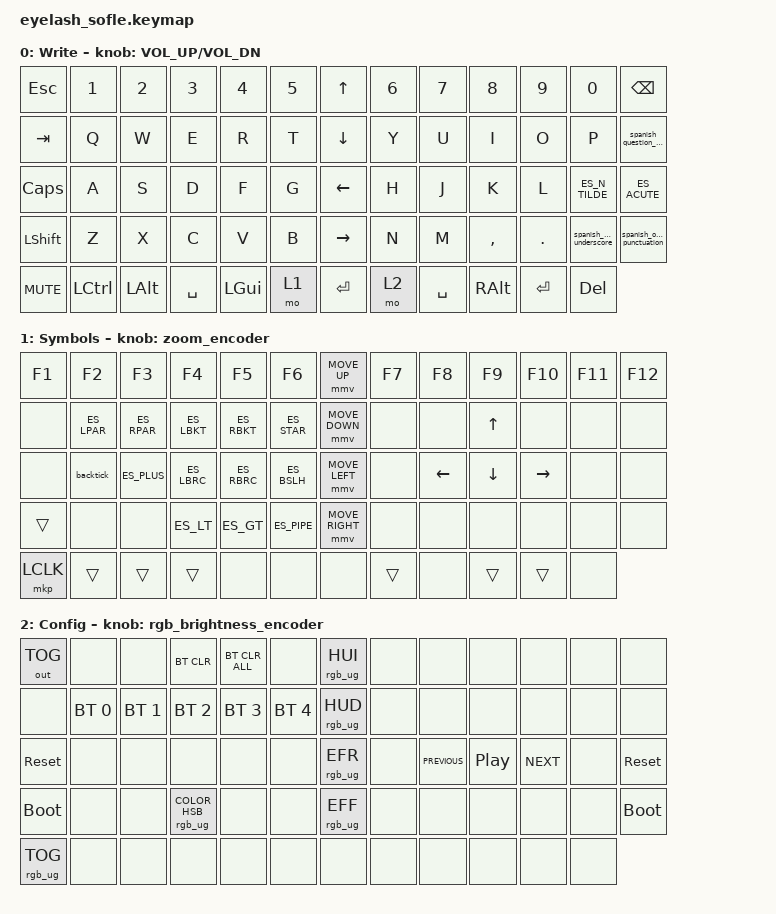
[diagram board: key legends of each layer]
#define ZMK_POINTING_DEFAULT_MOVE_VAL 1200  // 600
#define ZMK_POINTING_DEFAULT_SCRL_VAL 25   // 10

#include <input/processors.dtsi>
#include <zephyr/dt-bindings/input/input-event-codes.h>
#include <behaviors.dtsi>
#include <dt-bindings/zmk/bt.h>
#include <dt-bindings/zmk/keys.h>
#include <dt-bindings/zmk/outputs.h>
#include <dt-bindings/zmk/pointing.h>
#include <dt-bindings/zmk/rgb.h>
#ifndef KEYMAP_DRAWER // Preserve ES_* names for the diagram legends.
#include "keys_es.h"
#endif

&mmv_input_listener { input-processors = <&zip_xy_scaler 2 1>; };

&msc_input_listener { input-processors = <&zip_scroll_scaler 2 1>; };

&msc {
    acceleration-exponent = <1>;      // 0
    time-to-max-speed-ms = <100>;       // 300
    delay-ms = <0>;                   // 0
};

&mmv {
    time-to-max-speed-ms = <500>;
    acceleration-exponent = <1>;
    trigger-period-ms = <16>;
};

&soft_off { hold-time-ms = <2000>; };

/ {
    rgb_brightness_encoder: rgb_brightness_encoder {
        compatible = "zmk,behavior-sensor-rotate";
        #sensor-binding-cells = <0>;
        bindings = <&rgb_ug RGB_BRI>, <&rgb_ug RGB_BRD>;

        tap-ms = <100>;
    };

    zoom_encoder: zoom_encoder {
        compatible = "zmk,behavior-sensor-rotate";
        #sensor-binding-cells = <0>;
        bindings = <&kp LG(ES_PLUS)>, <&kp LG(ES_MINUS)>;

        tap-ms = <100>;
    };

    behaviors {
        // Si presiono normal escribe 5, si mantengo actua como un f5
        // &num_f F5 N5
        num_f: num_function {
            compatible = "zmk,behavior-hold-tap";
            label = "NUM_FUNCTION";
            #binding-cells = <2>;
            tapping-term-ms = <200>;
            quick-tap-ms = <0>;
            flavor = "tap-preferred";
            bindings = <&kp>, <&kp>;
        };


        td_copy: tap_dance_copy {
            compatible = "zmk,behavior-tap-dance";
            #binding-cells = <0>;
            tapping-term-ms = <200>;
            bindings = <&kp C>, <&kp LC(C)>;
        };

        td_paste: tap_dance_paste {
            compatible = "zmk,behavior-tap-dance";
            #binding-cells = <0>;
            tapping-term-ms = <200>;
            bindings = <&kp V>, <&kp LC(V)>;
        };

        spanish_open_punctuation: spanish_open_punctuation {
            compatible = "zmk,behavior-mod-morph";
            #binding-cells = <0>;
            mods = <(MOD_LSFT | MOD_RSFT)>;
            bindings = <&kp ES_IEXCL>, <&kp ES_IQMARK>;
        };

        spanish_question_quote: spanish_question_quote {
            compatible = "zmk,behavior-mod-morph";
            #binding-cells = <0>;
            mods = <(MOD_LSFT | MOD_RSFT)>;
            bindings = <&kp ES_SINGLE_QUOTE>, <&kp ES_QMARK>;
        };

        spanish_minus_underscore: spanish_minus_underscore {
            compatible = "zmk,behavior-mod-morph";
            #binding-cells = <0>;
            mods = <(MOD_LSFT | MOD_RSFT)>;
            bindings = <&kp ES_MINUS>, <&kp ES_UNDER>;
        };
       

    };

    combos {
        compatible = "zmk,combos";

        softoff {
            bindings = <&soft_off>;
            key-positions = <14 28 40>;
        };

    };

       macros {
        backtick: backtick {
            compatible = "zmk,behavior-macro";
            #binding-cells = <0>;
            bindings = <&macro_tap &kp ES_GRAVE &kp SPACE>;
        };

        SHIFT_MCLK: SHIFT_MCLK {
            compatible = "zmk,behavior-macro";
            #binding-cells = <0>;
            bindings =
                <&macro_press>,
                <&kp LEFT_SHIFT>,
                <&macro_press>,
                <&mkp MB3>,
                <&macro_pause_for_release>,
                <&macro_release>,
                <&kp LEFT_SHIFT &mkp MB3>;
 
            label = "SHIFT_MCLK";
        };
    };
    keymap {
        compatible = "zmk,keymap";

        layer0 {
            bindings = <
&kp ESC       &kp N1     &kp N2        &kp N3     &kp N4        &kp N5  &kp UP_ARROW     &kp N6  &kp N7     &kp N8     &kp N9     &kp N0                     &kp BACKSPACE
&kp TAB       &kp Q      &kp W         &kp E      &kp R         &kp T   &kp DOWN_ARROW   &kp Y   &kp U      &kp I      &kp O      &kp P                      &spanish_question_quote
&kp CAPSLOCK  &kp A      &kp S         &kp D      &kp F         &kp G   &kp LEFT_ARROW   &kp H   &kp J      &kp K      &kp L      &kp ES_N_TILDE             &kp ES_ACUTE
&kp LSHFT     &kp Z      &kp X         &kp C      &kp V         &kp B   &kp RIGHT_ARROW  &kp N   &kp M      &kp COMMA  &kp DOT    &spanish_minus_underscore  &spanish_open_punctuation
&kp C_MUTE    &kp LCTRL  &kp LEFT_ALT  &kp SPACE  &kp LEFT_GUI  &mo 1   &kp ENTER        &mo 2   &kp SPACE  &kp RALT   &kp ENTER  &kp DELETE
            >;
            sensor-bindings = <&inc_dec_kp C_VOL_UP C_VOL_DN>;
            display-name = "Write";
        };

        layer_1 {
            bindings = <
&kp F1     &kp F2       &kp F3       &kp F4       &kp F5       &kp F6       &mmv MOVE_UP     &kp F7  &kp F8          &kp F9          &kp F10          &kp F11  &kp F12
&none      &kp ES_LPAR  &kp ES_RPAR  &kp ES_LBKT  &kp ES_RBKT  &kp ES_STAR  &mmv MOVE_DOWN   &none   &none           &kp UP_ARROW    &none            &none    &none
&none      &backtick    &kp ES_PLUS  &kp ES_LBRC  &kp ES_RBRC  &kp ES_BSLH  &mmv MOVE_LEFT   &none   &kp LEFT_ARROW  &kp DOWN_ARROW  &kp RIGHT_ARROW  &none    &none
&trans     &none        &none        &kp ES_LT    &kp ES_GT    &kp ES_PIPE  &mmv MOVE_RIGHT  &none   &none           &none           &none            &none    &none
&mkp LCLK  &trans       &trans       &trans       &none        &none        &none            &trans  &none           &trans          &trans           &none
            >;
            sensor-bindings = <&zoom_encoder>;
            display-name = "Symbols";
        };

        layer_2 {
            bindings = <
&out OUT_TOG     &none         &none         &bt BT_CLR                         &bt BT_CLR_ALL  &none         &rgb_ug RGB_HUI  &none  &none           &none             &none       &none  &none
&none            &bt BT_SEL 0  &bt BT_SEL 1  &bt BT_SEL 2                       &bt BT_SEL 3    &bt BT_SEL 4  &rgb_ug RGB_HUD  &none  &none           &none             &none       &none  &none
&sys_reset       &none         &none         &none                              &none           &none         &rgb_ug RGB_EFR  &none  &kp C_PREVIOUS  &kp C_PLAY_PAUSE  &kp C_NEXT  &none  &sys_reset
&bootloader      &none         &none         &rgb_ug RGB_COLOR_HSB(90,100,40)   &none           &none         &rgb_ug RGB_EFF  &none  &none           &none             &none       &none  &bootloader
&rgb_ug RGB_TOG  &none         &none         &none                              &none           &none         &none            &none  &none           &none             &none       &none
            >;
            sensor-bindings = <&rgb_brightness_encoder>;
            display-name = "Config";
        };


    };
};
